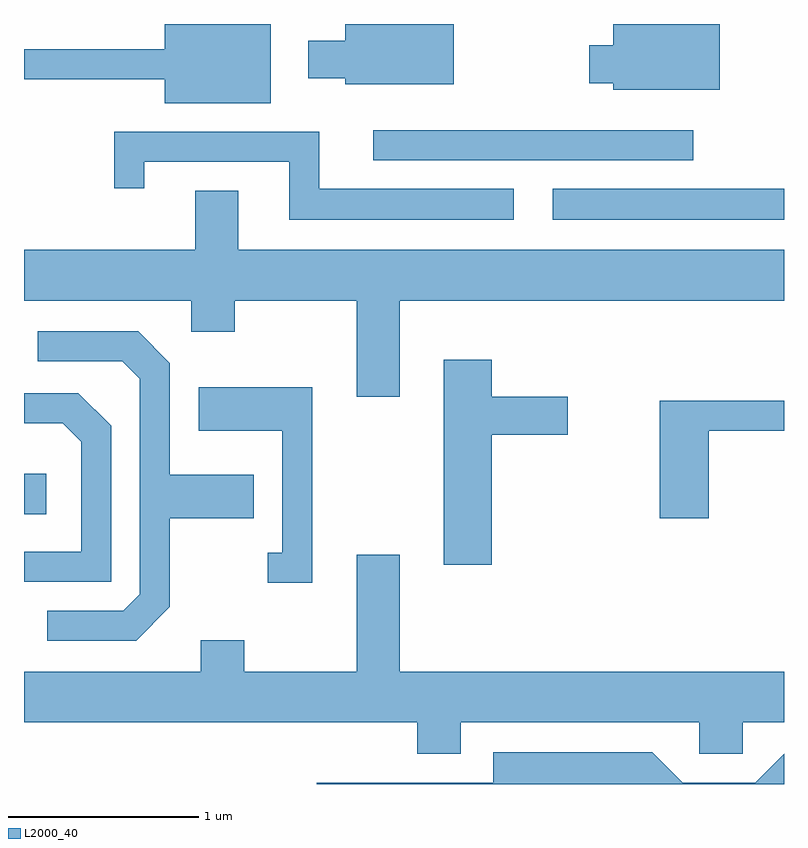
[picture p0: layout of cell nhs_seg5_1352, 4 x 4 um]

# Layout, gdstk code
import gdstk
lib = gdstk.Library(unit=1e-6, precision=1e-09)
def R(c, l, rs):  # rectangles x0, y0, x1, y1
    for r in rs: c.add(gdstk.rectangle(r[:2], r[2:], *l))
def P(c, l, *ps):  # polygons
    for p in ps: c.add(gdstk.Polygon(p, *l))
L2000_40 = (2000, 40)

nhs_seg5_1352 = lib.new_cell('nhs_seg5_1352')
R(nhs_seg5_1352, L2000_40, [(225.611,1413.491,225.729,1413.704), (228.393,1415.041,229.611,1415.204), (227.448,1415.356,229.133,1415.514)])
P(nhs_seg5_1352, L2000_40, [(227.874,1416.072),(227.301,1416.072),(227.301,1415.984),(227.106,1415.984),(227.106,1415.786),(227.301,1415.786),(227.301,1415.756),(227.874,1415.756)],
  [(226.909,1416.072),(226.351,1416.072),(226.351,1415.939),(225.611,1415.939),(225.611,1415.781),(226.351,1415.781),(226.351,1415.656),(226.909,1415.656)],
  [(229.274,1416.072),(228.711,1416.072),(228.711,1415.959),(228.586,1415.959),(228.586,1415.761),(228.711,1415.761),(228.711,1415.726),(229.274,1415.726)],
  [(228.188,1415.204),(227.164,1415.204),(227.164,1415.504),(226.086,1415.504),(226.086,1415.208),(226.244,1415.208),(226.244,1415.346),(227.006,1415.346),(227.006,1415.041),(228.188,1415.041)],
  [(227.589,1414.616),(229.611,1414.616),(229.611,1414.884),(226.739,1414.884),(226.739,1415.194),(226.511,1415.194),(226.511,1414.884),(225.611,1414.884),(225.611,1414.616),(226.491,1414.616),(226.491,1414.451),(226.719,1414.451),(226.719,1414.616),(227.361,1414.616),(227.361,1414.111),(227.589,1414.111)],
  [(226.379,1413.004),(226.379,1413.471),(226.819,1413.471),(226.819,1413.699),(226.379,1413.699),(226.379,1414.287),(226.212,1414.454),(225.683,1414.454),(225.683,1414.296),(226.129,1414.296),(226.221,1414.204),(226.221,1413.072),(226.134,1412.984),(225.733,1412.984),(225.733,1412.826),(226.202,1412.826)],
  [(228.074,1413.911),(228.474,1413.911),(228.474,1414.109),(228.074,1414.109),(228.074,1414.304),(227.821,1414.304),(227.821,1413.226),(228.074,1413.226)],
  [(227.129,1414.159),(226.531,1414.159),(226.531,1413.931),(226.971,1413.931),(226.971,1413.289),(226.893,1413.289),(226.893,1413.131),(227.129,1413.131)],
  [(226.069,1413.957),(225.897,1414.129),(225.611,1414.129),(225.611,1413.971),(225.814,1413.971),(225.911,1413.874),(225.911,1413.294),(225.611,1413.294),(225.611,1413.136),(226.069,1413.136)],
  [(229.214,1413.931),(229.611,1413.931),(229.611,1414.089),(228.956,1414.089),(228.956,1413.471),(229.214,1413.471)],
  [(227.909,1412.396),(229.166,1412.396),(229.166,1412.231),(229.394,1412.231),(229.394,1412.396),(229.611,1412.396),(229.611,1412.664),(227.589,1412.664),(227.589,1413.279),(227.361,1413.279),(227.361,1412.664),(226.769,1412.664),(226.769,1412.829),(226.541,1412.829),(226.541,1412.664),(225.611,1412.664),(225.611,1412.396),(227.681,1412.396),(227.681,1412.231),(227.909,1412.231)],
  [(229.611,1412.231),(229.459,1412.079),(229.077,1412.079),(228.917,1412.239),(228.081,1412.239),(228.081,1412.079),(227.153,1412.079),(227.153,1412.072),(229.611,1412.072)])

lib.write_gds('nhs_seg5_1352.gds')
